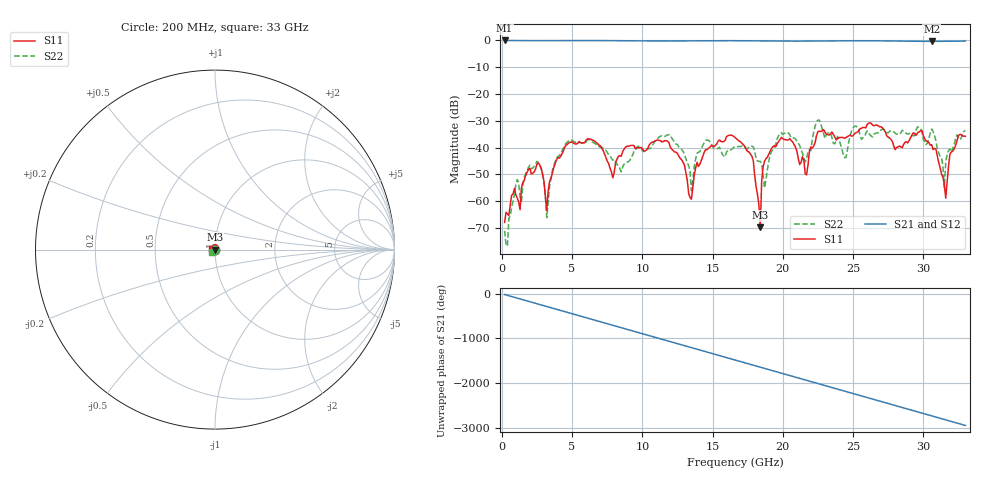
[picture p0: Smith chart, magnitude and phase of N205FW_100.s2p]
# GHZ S RI R 50
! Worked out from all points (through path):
!   329 points, 200 MHz to 33 GHz, reference 50 ohm
!   highest |S21| = -0.02 dB at 200 MHz (marker M1); lowest = -0.4 dB at 30.6 GHz (marker M2)
!   group delay of S21, straight-line fit = 248 ps
!   lowest |S11| = -69.8 dB at 18.4 GHz (marker M3), VSWR 1.00, Z = 50 + j0.0288 ohm
!   |S11| at or under -10 dB: start of sweep to end of sweep
!   |S22| runs from -76.7 to -29.7 dB; largest |S21 - S12| = 0.0022
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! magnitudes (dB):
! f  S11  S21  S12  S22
! 200 MHz  -67.9  0.0  0.0  -71.0
! 400 MHz  -64.7  0.0  0.0  -76.7
! 1.1 GHz  -58.8  -0.1  -0.1  -51.9
! 2.6 GHz  -45.8  -0.1  -0.1  -45.6
! 3.2 GHz  -63.5  -0.1  -0.1  -66.1
! 3.9 GHz  -44.4  -0.1  -0.1  -43.9
! 5.7 GHz  -38.3  -0.1  -0.1  -38.3
! 7.9 GHz  -51.2  -0.1  -0.1  -44.7
! 11.2 GHz  -37.3  -0.2  -0.2  -36.1
! 13.5 GHz  -59.2  -0.2  -0.2  -56.0
! 14.5 GHz  -40.8  -0.1  -0.1  -37.3
! 16.6 GHz  -36.2  -0.1  -0.1  -39.7
! 17.9 GHz  -44.9  -0.2  -0.2  -39.7
! 18.4 GHz  -69.8  -0.2  -0.2  -45.1
! 18.6 GHz  -47.1  -0.2  -0.2  -50.5
! 19.2 GHz  -40.3  -0.2  -0.2  -41.4
! 21.7 GHz  -50.1  -0.3  -0.3  -43.9
! 22.1 GHz  -40.1  -0.3  -0.3  -36.8
! 27.6 GHz  -36.4  -0.2  -0.2  -33.8
! 30.6 GHz  -38.9  -0.4  -0.4  -33.1
! 31.5 GHz  -53.6  -0.4  -0.4  -54.9
! 33 GHz  -35.8  -0.3  -0.2  -33.6
